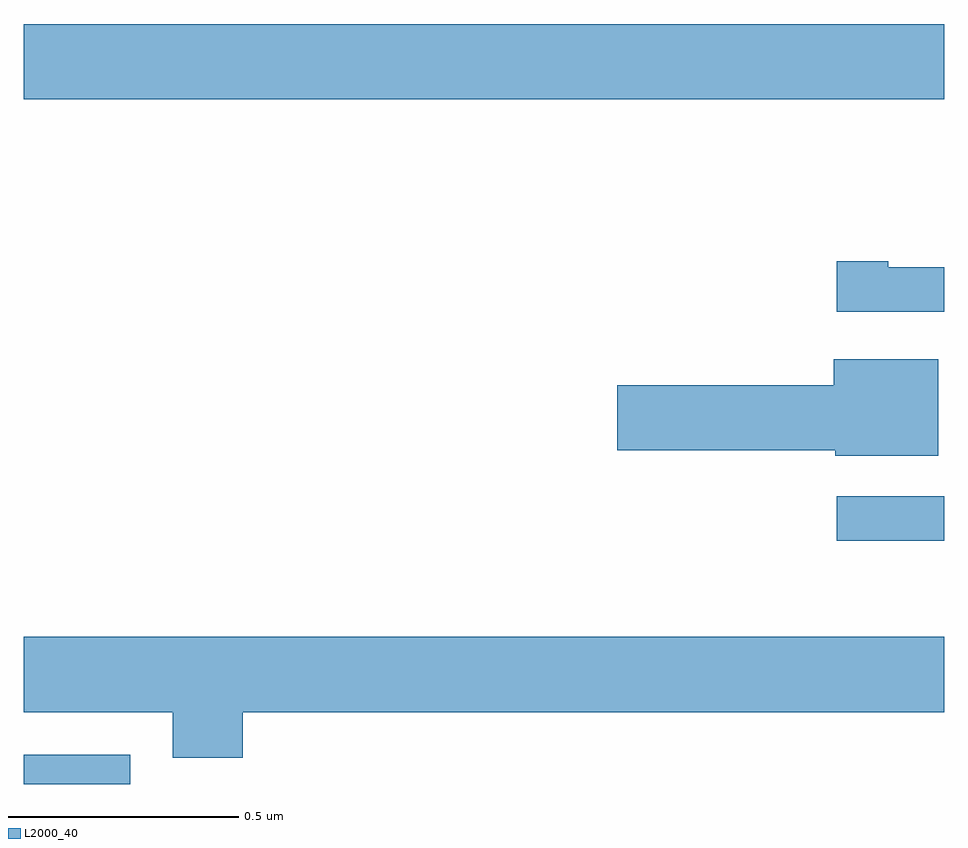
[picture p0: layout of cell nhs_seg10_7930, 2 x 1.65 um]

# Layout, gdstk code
import gdstk
lib = gdstk.Library(unit=1e-6, precision=1e-09)
def R(c, l, rs):  # rectangles x0, y0, x1, y1
    for r in rs: c.add(gdstk.rectangle(r[:2], r[2:], *l))
def P(c, l, *ps):  # polygons
    for p in ps: c.add(gdstk.Polygon(p, *l))
L2000_40 = (2000, 40)

nhs_seg10_7930 = lib.new_cell('nhs_seg10_7930')
R(nhs_seg10_7930, L2000_40, [(210,1293.5,210.231,1293.564), (211.767,1294.029,212,1294.125), (210,1294.988,212,1295.152)])
P(nhs_seg10_7930, L2000_40, [(212,1294.623),(211.879,1294.623),(211.879,1294.636),(211.767,1294.636),(211.767,1294.527),(212,1294.527)],
  [(211.987,1294.423),(211.76,1294.423),(211.76,1294.367),(211.29,1294.367),(211.29,1294.225),(211.764,1294.225),(211.764,1294.214),(211.987,1294.214)],
  [(210.476,1293.656),(212,1293.656),(212,1293.82),(210,1293.82),(210,1293.656),(210.323,1293.656),(210.323,1293.557),(210.476,1293.557)])

lib.write_gds('nhs_seg10_7930.gds')
